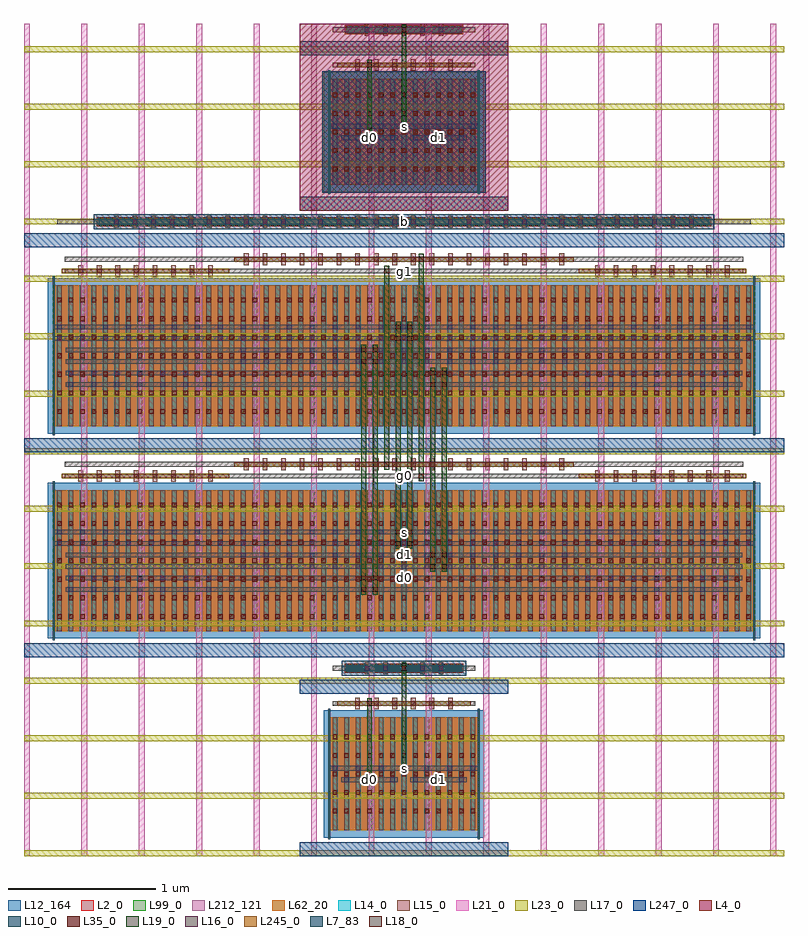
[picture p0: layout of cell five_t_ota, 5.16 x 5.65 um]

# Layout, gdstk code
import gdstk
lib = gdstk.Library(unit=1e-6, precision=1e-12)
def R(c, l, rs):  # rectangles x0, y0, x1, y1
    for r in rs: c.add(gdstk.rectangle(r[:2], r[2:], *l))
def A(c, l, x, y, w, h, nx, ny, dx, dy):  # array of equal rectangles
    R(c, l, [(x+i*dx, y+j*dy, x+i*dx+w, y+j*dy+h) for i in range(nx) for j in range(ny)])
L2_0 = (2, 0)
L4_0 = (4, 0)
L7_83 = (7, 83)
L10_0 = (10, 0)
L12_164 = (12, 164)
L14_0 = (14, 0)
L15_0 = (15, 0)
L16_0 = (16, 0)
L17_0 = (17, 0)
L18_0 = (18, 0)
L19_0 = (19, 0)
L21_0 = (21, 0)
L23_0 = (23, 0)
L35_0 = (35, 0)
L62_20 = (62, 20)
L99_0 = (99, 0)
L212_121 = (212, 121)
L245_0 = (245, 0)
L247_0 = (247, 0)

five_t_ota = lib.new_cell('five_t_ota')
R(five_t_ota, L2_0, [(2.526,0.559,3.54,1.327), (2.6318,1.631,3.4342,1.691), (0.654,1.911,5.412,2.871), (0.654,3.303,5.412,4.263), (0.947,4.663,5.119,4.723), (2.526,4.943,3.54,5.663), (2.6318,5.967,3.4342,6.027)])
R(five_t_ota, L4_0, [(2.324,4.769,3.742,6.037)])
R(five_t_ota, L7_83, [(2.519,0.499,2.533,1.387), (3.533,0.499,3.547,1.387), (0.647,1.851,0.661,2.931), (5.405,1.851,5.419,2.931), (0.647,3.243,0.661,4.323), (5.405,3.243,5.419,4.323), (2.519,4.883,2.533,5.723), (3.533,4.883,3.547,5.723)])
R(five_t_ota, L10_0, [(2.6118,1.611,3.4542,1.711), (0.927,4.643,5.139,4.743), (2.478,4.891,3.588,5.715)])
R(five_t_ota, L12_164, [(2.487,0.511,3.579,1.375), (0.615,1.863,5.451,2.919), (0.615,3.255,5.451,4.311), (2.487,4.895,3.579,5.711)])
A(five_t_ota, L14_0, 2.548, 0.559, 0.034, 0.768, 13, 1, 0.078, 0)
A(five_t_ota, L14_0, 0.676, 1.911, 0.034, 0.96, 61, 2, 0.078, 1.392)
A(five_t_ota, L14_0, 2.548, 4.943, 0.034, 0.72, 13, 1, 0.078, 0)
R(five_t_ota, L14_0, [(2.6468,1.641,3.4192,1.681), (0.962,4.673,5.104,4.713), (2.6468,5.977,3.4192,6.017)])
A(five_t_ota, L15_0, 2.549, 0.559, 0.032, 0.768, 13, 1, 0.078, 0)
A(five_t_ota, L15_0, 2.702, 1.382, 0.032, 0.08, 6, 2, 0.126, 4.336)
A(five_t_ota, L15_0, 2.765, 1.621, 0.032, 0.08, 5, 2, 0.126, 4.336)
A(five_t_ota, L15_0, 0.677, 1.911, 0.032, 0.96, 61, 2, 0.078, 1.392)
A(five_t_ota, L15_0, 0.821, 2.926, 0.032, 0.08, 8, 2, 0.126, 1.392)
A(five_t_ota, L15_0, 4.331, 2.926, 0.032, 0.08, 8, 2, 0.126, 1.392)
A(five_t_ota, L15_0, 1.946, 3.006, 0.032, 0.08, 18, 2, 0.126, 1.392)
A(five_t_ota, L15_0, 1.064, 4.653, 0.032, 0.08, 32, 1, 0.126, 0)
A(five_t_ota, L15_0, 2.549, 4.943, 0.032, 0.72, 13, 1, 0.078, 0)
A(five_t_ota, L16_0, 2.627, 0.888, 0.032, 0.032, 6, 2, 0.156, 4.36)
A(five_t_ota, L16_0, 2.549, 0.966, 0.032, 0.032, 7, 2, 0.156, 4.36)
A(five_t_ota, L16_0, 2.702, 1.406, 0.032, 0.032, 6, 2, 0.126, 4.336)
A(five_t_ota, L16_0, 2.765, 1.645, 0.032, 0.032, 5, 2, 0.126, 4.336)
A(five_t_ota, L16_0, 0.755, 2.18, 0.032, 0.032, 7, 2, 0.156, 0.078)
A(five_t_ota, L16_0, 4.265, 2.18, 0.032, 0.032, 7, 2, 0.156, 0.078)
A(five_t_ota, L16_0, 1.925, 2.336, 0.032, 0.032, 15, 2, 0.156, 0.078)
A(five_t_ota, L16_0, 0.677, 2.492, 0.032, 0.032, 31, 2, 0.156, 0.078)
A(five_t_ota, L16_0, 1.946, 3.03, 0.032, 0.032, 18, 2, 0.126, 1.392)
A(five_t_ota, L16_0, 0.755, 3.572, 0.032, 0.032, 7, 2, 0.156, 0.078)
A(five_t_ota, L16_0, 4.265, 3.572, 0.032, 0.032, 7, 2, 0.156, 0.078)
A(five_t_ota, L16_0, 1.925, 3.728, 0.032, 0.032, 15, 2, 0.156, 0.078)
A(five_t_ota, L16_0, 0.677, 3.884, 0.032, 0.032, 31, 2, 0.156, 0.078)
A(five_t_ota, L16_0, 1.064, 4.677, 0.032, 0.032, 32, 1, 0.126, 0)
R(five_t_ota, L16_0, [(0.821,2.95,0.853,2.982), (0.821,2.95,0.853,2.982), (0.947,2.95,0.979,2.982), (0.947,2.95,0.979,2.982), (1.073,2.95,1.105,2.982), (1.073,2.95,1.105,2.982), (1.199,2.95,1.231,2.982), (1.199,2.95,1.231,2.982), (1.325,2.95,1.357,2.982), (1.325,2.95,1.357,2.982), (1.451,2.95,1.483,2.982), (1.451,2.95,1.483,2.982), (1.577,2.95,1.609,2.982), (1.577,2.95,1.609,2.982), (1.703,2.95,1.735,2.982), (1.703,2.95,1.735,2.982), (4.331,2.95,4.363,2.982), (4.331,2.95,4.363,2.982), (4.457,2.95,4.489,2.982), (4.457,2.95,4.489,2.982), (4.583,2.95,4.615,2.982), (4.583,2.95,4.615,2.982), (4.709,2.95,4.741,2.982), (4.709,2.95,4.741,2.982), (4.835,2.95,4.867,2.982), (4.835,2.95,4.867,2.982), (4.961,2.95,4.993,2.982), (4.961,2.95,4.993,2.982), (5.087,2.95,5.119,2.982), (5.087,2.95,5.119,2.982), (5.213,2.95,5.245,2.982), (5.213,2.95,5.245,2.982), (0.821,4.342,0.853,4.374), (0.821,4.342,0.853,4.374), (0.947,4.342,0.979,4.374), (0.947,4.342,0.979,4.374), (1.073,4.342,1.105,4.374), (1.073,4.342,1.105,4.374), (1.199,4.342,1.231,4.374), (1.199,4.342,1.231,4.374), (1.325,4.342,1.357,4.374), (1.325,4.342,1.357,4.374), (1.451,4.342,1.483,4.374), (1.451,4.342,1.483,4.374), (1.577,4.342,1.609,4.374), (1.577,4.342,1.609,4.374), (1.703,4.342,1.735,4.374), (1.703,4.342,1.735,4.374), (4.331,4.342,4.363,4.374), (4.331,4.342,4.363,4.374), (4.457,4.342,4.489,4.374), (4.457,4.342,4.489,4.374), (4.583,4.342,4.615,4.374), (4.583,4.342,4.615,4.374), (4.709,4.342,4.741,4.374), (4.709,4.342,4.741,4.374), (4.835,4.342,4.867,4.374), (4.835,4.342,4.867,4.374), (4.961,4.342,4.993,4.374), (4.961,4.342,4.993,4.374), (5.087,4.342,5.119,4.374), (5.087,4.342,5.119,4.374), (5.213,4.342,5.245,4.374), (5.213,4.342,5.245,4.374)])
A(five_t_ota, L17_0, 0.735, 2.18, 4.596, 0.032, 1, 4, 0, 0.078)
A(five_t_ota, L17_0, 0.735, 3.572, 4.596, 0.032, 1, 4, 0, 0.078)
R(five_t_ota, L17_0, [(2.607,0.888,2.991,0.92), (3.075,0.888,3.459,0.92), (2.526,0.966,3.54,0.998), (2.549,1.406,3.517,1.438), (2.549,1.645,3.517,1.677), (0.654,2.492,5.412,2.524), (0.654,2.57,5.412,2.602), (0.729,2.95,5.337,2.982), (0.729,2.95,5.337,2.982), (0.729,3.03,5.337,3.062), (0.654,3.884,5.412,3.916), (0.654,3.962,5.412,3.994), (0.729,4.342,5.337,4.374), (0.729,4.342,5.337,4.374), (0.729,4.422,5.337,4.454), (0.677,4.677,5.389,4.709), (2.607,5.248,2.991,5.28), (3.075,5.248,3.459,5.28), (2.526,5.326,3.54,5.358), (2.549,5.742,3.517,5.774), (2.549,5.981,3.517,6.013)])
R(five_t_ota, L18_0, [(2.783,0.888,2.815,0.92), (3.251,0.888,3.283,0.92), (3.017,0.966,3.049,0.998), (2.783,1.406,2.815,1.438), (3.017,1.645,3.049,1.677), (2.744,2.18,2.776,2.212), (2.822,2.18,2.854,2.212), (2.744,2.258,2.776,2.29), (2.822,2.258,2.854,2.29), (3.212,2.336,3.244,2.368), (3.29,2.336,3.322,2.368), (3.212,2.414,3.244,2.446), (3.29,2.414,3.322,2.446), (2.978,2.492,3.01,2.524), (3.056,2.492,3.088,2.524), (2.978,2.57,3.01,2.602), (3.056,2.57,3.088,2.602), (3.134,2.95,3.166,2.982), (3.134,2.95,3.166,2.982), (2.9,3.03,2.932,3.062), (3.212,3.572,3.244,3.604), (3.29,3.572,3.322,3.604), (3.212,3.65,3.244,3.682), (3.29,3.65,3.322,3.682), (2.744,3.728,2.776,3.76), (2.822,3.728,2.854,3.76), (2.744,3.806,2.776,3.838), (2.822,3.806,2.854,3.838), (2.978,3.884,3.01,3.916), (3.056,3.884,3.088,3.916), (2.978,3.962,3.01,3.994), (3.056,3.962,3.088,3.994), (2.9,4.342,2.932,4.374), (2.9,4.342,2.932,4.374), (3.134,4.422,3.166,4.454), (2.783,5.248,2.815,5.28), (3.251,5.248,3.283,5.28), (3.017,5.326,3.049,5.358), (2.783,5.742,2.815,5.774), (3.017,5.981,3.049,6.013)])
R(five_t_ota, L19_0, [(2.783,0.868,2.815,1.458), (3.251,0.868,3.283,0.94), (3.017,0.946,3.049,1.697), (2.744,2.16,2.776,3.858), (2.822,2.16,2.854,3.858), (3.212,2.316,3.244,3.702), (3.29,2.316,3.322,3.702), (2.978,2.472,3.01,4.014), (3.056,2.472,3.088,4.014), (3.134,2.93,3.166,4.475), (2.9,3.01,2.932,4.395), (2.783,5.228,2.815,5.794), (3.251,5.228,3.283,5.3), (3.017,5.306,3.049,6.033)])
A(five_t_ota, L21_0, 0.452, 0.385, 0.04, 5.652, 14, 1, 0.39, 0)
A(five_t_ota, L23_0, 0.452, 0.385, 5.162, 0.04, 1, 15, 0, 0.39)
A(five_t_ota, L35_0, 2.549, 0.675, 0.032, 0.032, 13, 5, 0.078, 0.126)
A(five_t_ota, L35_0, 2.702, 1.406, 0.032, 0.032, 6, 2, 0.126, 4.336)
A(five_t_ota, L35_0, 2.765, 1.645, 0.032, 0.032, 5, 2, 0.126, 4.336)
A(five_t_ota, L35_0, 0.677, 1.997, 0.032, 0.032, 61, 7, 0.078, 0.126)
A(five_t_ota, L35_0, 0.821, 2.95, 0.032, 0.032, 8, 2, 0.126, 1.392)
A(five_t_ota, L35_0, 4.331, 2.95, 0.032, 0.032, 8, 2, 0.126, 1.392)
A(five_t_ota, L35_0, 1.946, 3.03, 0.032, 0.032, 18, 2, 0.126, 1.392)
A(five_t_ota, L35_0, 0.677, 3.389, 0.032, 0.032, 61, 7, 0.078, 0.126)
A(five_t_ota, L35_0, 1.064, 4.677, 0.032, 0.032, 32, 1, 0.126, 0)
A(five_t_ota, L35_0, 2.549, 5.035, 0.032, 0.032, 13, 5, 0.078, 0.126)
R(five_t_ota, L62_20, [(2.526,0.559,3.54,1.327), (0.654,1.911,5.412,2.871), (0.654,3.303,5.412,4.263), (2.526,4.943,3.54,5.663)])
R(five_t_ota, L99_0, [(2.526,0.559,3.54,1.327), (2.6418,1.636,3.4242,1.686), (0.654,1.911,5.412,2.871), (0.654,3.303,5.412,4.263), (0.957,4.668,5.109,4.718), (2.526,4.943,3.54,5.663), (2.6418,5.972,3.4242,6.022)])
R(five_t_ota, L212_121, [(2.526,0.559,3.54,1.327), (0.654,1.911,5.412,2.871), (0.654,3.303,5.412,4.263), (2.526,4.943,3.54,5.663)])
R(five_t_ota, L245_0, [(2.581,1.407,3.485,1.437), (0.709,2.951,1.847,2.981), (4.219,2.951,5.357,2.981), (1.879,3.031,4.187,3.061), (0.709,4.343,1.847,4.373), (4.219,4.343,5.357,4.373), (1.879,4.423,4.187,4.453), (2.581,5.743,3.485,5.773)])
A(five_t_ota, L247_0, 0.452, 1.737, 5.162, 0.094, 1, 3, 0, 1.392)
R(five_t_ota, L247_0, [(2.324,0.385,3.742,0.479), (2.324,1.489,3.742,1.583), (2.324,4.769,3.742,4.863), (2.324,5.825,3.742,5.919)])
five_t_ota.add(gdstk.Label('s', (3.033,0.982), layer=16, texttype=20))
five_t_ota.add(gdstk.Label('d1', (3.267,0.904), layer=16, texttype=20))
five_t_ota.add(gdstk.Label('d0', (2.799,0.904), layer=16, texttype=20))
five_t_ota.add(gdstk.Label('s', (3.033,2.586), layer=16, texttype=20))
five_t_ota.add(gdstk.Label('d1', (3.033,2.43), layer=16, texttype=20))
five_t_ota.add(gdstk.Label('d0', (3.033,2.274), layer=16, texttype=20))
five_t_ota.add(gdstk.Label('g0', (3.033,2.9665), layer=16, texttype=20))
five_t_ota.add(gdstk.Label('g1', (3.033,4.3585), layer=16, texttype=20))
five_t_ota.add(gdstk.Label('b', (3.033,4.693), layer=16, texttype=20))
five_t_ota.add(gdstk.Label('s', (3.033,5.342), layer=16, texttype=20))
five_t_ota.add(gdstk.Label('d1', (3.267,5.264), layer=16, texttype=20))
five_t_ota.add(gdstk.Label('d0', (2.799,5.264), layer=16, texttype=20))

lib.write_gds('five_t_ota.gds')
